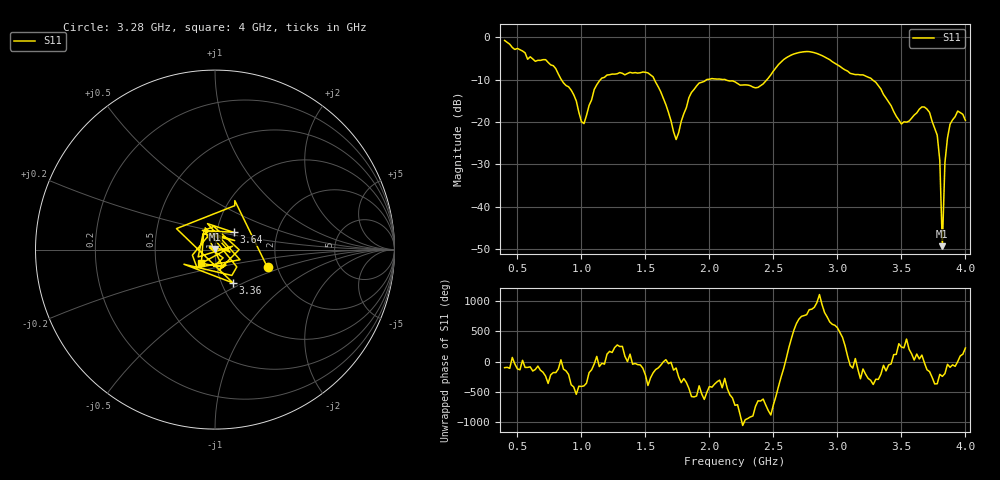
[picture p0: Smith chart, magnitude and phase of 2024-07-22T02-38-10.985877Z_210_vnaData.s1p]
!Created with skrf (http://scikit-rf.org).
# Hz S RI R 50.0
!freq ReS11 ImS11
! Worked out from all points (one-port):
!   181 points, 400 MHz to 4 GHz, reference 50 ohm
!   lowest |S11| = -49.3 dB at 3.82 GHz (marker M1), VSWR 1.01, Z = 49.9 + j0.309 ohm
!   |S11| at or under -10 dB: 1.57 GHz to 1.979 GHz (408.7 MHz wide, 23 % of centre); 2.124 GHz to 2.45 GHz (325.9 MHz wide, 14.3 % of centre); 3.273 GHz to end of sweep (the widest 3 of 4)
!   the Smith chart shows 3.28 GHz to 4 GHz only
!   S11 on the Smith chart (normalised r, x): 3.28 GHz: 1.77, -0.39; 3.36 GHz: 1.13, -0.44; 3.64 GHz: 1.21, +0.24; 4 GHz: 0.85, -0.12
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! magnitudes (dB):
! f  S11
! 400 MHz  -0.8
! 720 MHz  -5.3
! 860 MHz  -10.8
! 1.02 GHz  -20.4
! 1.14 GHz  -10.3
! 1.3 GHz  -8.3
! 1.56 GHz  -9.3
! 1.74 GHz  -24.1
! 1.76 GHz  -22.5
! 1.84 GHz  -14.2
! 1.92 GHz  -10.8
! 2.2 GHz  -10.5
! 2.38 GHz  -11.8
! 2.66 GHz  -4.0
! 3.1 GHz  -8.5
! 3.28 GHz  -10.2
! 3.36 GHz  -13.5
! 3.5 GHz  -20.5
! 3.56 GHz  -19.8
! 3.64 GHz  -17.0
! 3.72 GHz  -17.7
! 3.78 GHz  -23.1
! 3.8 GHz  -29.0
! 3.82 GHz  -49.3
! 3.84 GHz  -29.6
! 3.86 GHz  -23.8
! 3.94 GHz  -17.4
! 4 GHz  -19.6
